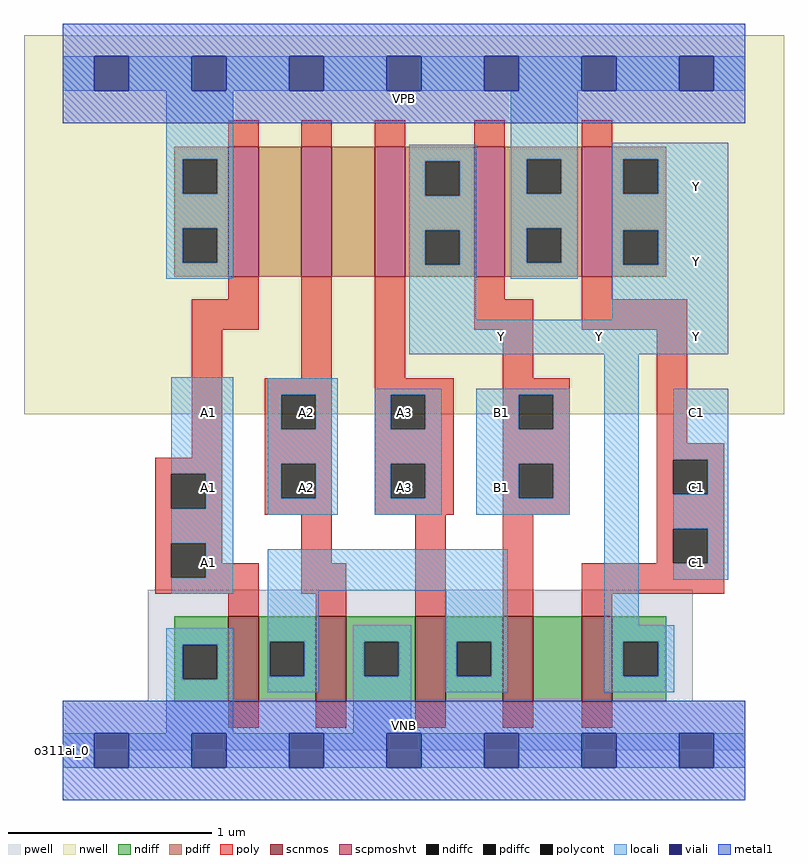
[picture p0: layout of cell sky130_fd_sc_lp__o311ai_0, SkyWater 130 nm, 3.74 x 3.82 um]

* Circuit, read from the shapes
.subckt sky130_fd_sc_lp__o311ai_0 A1 A2 A3 B1 C1 VGND VNB VPB VPWR Y
XM1 n1 A1 VGND VNB sky130_fd_pr__nfet_01v8 w=0.42 l=0.15
XM2 VGND A2 n1 VNB sky130_fd_pr__nfet_01v8 w=0.42 l=0.15
XM3 n1 A3 VGND VNB sky130_fd_pr__nfet_01v8 w=0.42 l=0.15
XM4 n2 B1 n1 VNB sky130_fd_pr__nfet_01v8 w=0.42 l=0.15
XM5 Y C1 n2 VNB sky130_fd_pr__nfet_01v8 w=0.42 l=0.15
XM6 n3 A1 VPWR VPB sky130_fd_pr__pfet_01v8_hvt w=0.64 l=0.15
XM7 n4 A2 n3 VPB sky130_fd_pr__pfet_01v8_hvt w=0.64 l=0.15
XM8 Y A3 n4 VPB sky130_fd_pr__pfet_01v8_hvt w=0.64 l=0.15
XM9 VPWR B1 Y VPB sky130_fd_pr__pfet_01v8_hvt w=0.64 l=0.15
XM10 Y C1 VPWR VPB sky130_fd_pr__pfet_01v8_hvt w=0.64 l=0.15
.ends

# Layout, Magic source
magic
tech sky130A
magscale 1 2
<< nwell >>
rect -38 331 710 704
<< pwell >>
rect 84 49 620 158
rect 0 0 672 49
<< scnmos >>
rect 163 48 193 132
rect 249 48 279 132
rect 347 48 377 132
rect 433 48 463 132
rect 511 48 541 132
<< scpmoshvt >>
rect 163 466 193 594
rect 235 466 265 594
rect 307 466 337 594
rect 405 466 435 594
rect 511 466 541 594
<< ndiff >>
rect 110 104 163 132
rect 110 70 118 104
rect 152 70 163 104
rect 110 48 163 70
rect 193 107 249 132
rect 193 73 204 107
rect 238 73 249 107
rect 193 48 249 73
rect 279 107 347 132
rect 279 73 297 107
rect 331 73 347 107
rect 279 48 347 73
rect 377 107 433 132
rect 377 73 388 107
rect 422 73 433 107
rect 377 48 433 73
rect 463 48 511 132
rect 541 107 594 132
rect 541 73 552 107
rect 586 73 594 107
rect 541 48 594 73
<< pdiff >>
rect 110 582 163 594
rect 110 548 118 582
rect 152 548 163 582
rect 110 514 163 548
rect 110 480 118 514
rect 152 480 163 514
rect 110 466 163 480
rect 193 466 235 594
rect 265 466 307 594
rect 337 580 405 594
rect 337 546 357 580
rect 391 546 405 580
rect 337 512 405 546
rect 337 478 357 512
rect 391 478 405 512
rect 337 466 405 478
rect 435 582 511 594
rect 435 548 457 582
rect 491 548 511 582
rect 435 514 511 548
rect 435 480 457 514
rect 491 480 511 514
rect 435 466 511 480
rect 541 582 594 594
rect 541 548 552 582
rect 586 548 594 582
rect 541 512 594 548
rect 541 478 552 512
rect 586 478 594 512
rect 541 466 594 478
<< ndiffc >>
rect 118 70 152 104
rect 204 73 238 107
rect 297 73 331 107
rect 388 73 422 107
rect 552 73 586 107
<< pdiffc >>
rect 118 548 152 582
rect 118 480 152 514
rect 357 546 391 580
rect 357 478 391 512
rect 457 548 491 582
rect 457 480 491 514
rect 552 548 586 582
rect 552 478 586 512
<< poly >>
rect 163 594 193 620
rect 235 594 265 620
rect 307 594 337 620
rect 405 594 435 620
rect 511 594 541 620
rect 163 444 193 466
rect 127 414 193 444
rect 127 288 157 414
rect 235 366 265 466
rect 91 272 157 288
rect 91 238 107 272
rect 141 238 157 272
rect 91 204 157 238
rect 199 350 265 366
rect 199 316 215 350
rect 249 316 265 350
rect 199 282 265 316
rect 199 248 215 282
rect 249 248 265 282
rect 199 232 265 248
rect 307 366 337 466
rect 405 444 435 466
rect 511 444 541 466
rect 405 414 463 444
rect 511 414 615 444
rect 433 366 463 414
rect 307 350 385 366
rect 307 316 323 350
rect 357 316 385 350
rect 307 282 385 316
rect 307 248 323 282
rect 357 248 385 282
rect 307 232 385 248
rect 433 350 499 366
rect 433 316 449 350
rect 483 316 499 350
rect 433 282 499 316
rect 433 248 449 282
rect 483 248 499 282
rect 433 232 499 248
rect 585 302 615 414
rect 585 286 651 302
rect 585 252 601 286
rect 635 252 651 286
rect 91 170 107 204
rect 141 184 157 204
rect 235 184 265 232
rect 141 170 193 184
rect 91 154 193 170
rect 235 154 279 184
rect 163 132 193 154
rect 249 132 279 154
rect 347 132 377 232
rect 433 132 463 232
rect 585 218 651 252
rect 585 184 601 218
rect 635 184 651 218
rect 511 154 651 184
rect 511 132 541 154
rect 163 22 193 48
rect 249 22 279 48
rect 347 22 377 48
rect 433 22 463 48
rect 511 22 541 48
<< polycont >>
rect 107 238 141 272
rect 215 316 249 350
rect 215 248 249 282
rect 323 316 357 350
rect 323 248 357 282
rect 449 316 483 350
rect 449 248 483 282
rect 601 252 635 286
rect 107 170 141 204
rect 601 184 635 218
<< locali >>
rect 0 649 31 683
rect 65 649 127 683
rect 161 649 223 683
rect 257 649 319 683
rect 353 649 415 683
rect 449 649 511 683
rect 545 649 607 683
rect 641 649 672 683
rect 102 582 168 649
rect 102 548 118 582
rect 152 548 168 582
rect 102 514 168 548
rect 102 480 118 514
rect 152 480 168 514
rect 102 464 168 480
rect 341 580 407 596
rect 341 546 357 580
rect 391 546 407 580
rect 341 512 407 546
rect 341 478 357 512
rect 391 478 407 512
rect 341 424 407 478
rect 441 582 507 649
rect 441 548 457 582
rect 491 548 507 582
rect 441 514 507 548
rect 441 480 457 514
rect 491 480 507 514
rect 441 464 507 480
rect 541 582 655 598
rect 541 548 552 582
rect 586 548 655 582
rect 541 512 655 548
rect 541 478 552 512
rect 586 478 655 512
rect 541 424 655 478
rect 341 390 655 424
rect 107 272 168 367
rect 141 238 168 272
rect 107 204 168 238
rect 202 350 271 366
rect 202 316 215 350
rect 249 316 271 350
rect 202 282 271 316
rect 202 248 215 282
rect 249 248 271 282
rect 202 232 271 248
rect 307 350 373 356
rect 307 316 323 350
rect 357 316 373 350
rect 307 282 373 316
rect 307 248 323 282
rect 357 248 373 282
rect 307 232 373 248
rect 407 350 499 356
rect 407 316 449 350
rect 483 316 499 350
rect 407 282 499 316
rect 407 248 449 282
rect 483 248 499 282
rect 407 232 499 248
rect 141 170 168 204
rect 107 154 168 170
rect 202 157 438 198
rect 102 104 168 120
rect 102 70 118 104
rect 152 70 168 104
rect 102 17 168 70
rect 202 107 252 157
rect 202 73 204 107
rect 238 73 252 107
rect 202 57 252 73
rect 286 107 343 123
rect 286 73 297 107
rect 331 73 343 107
rect 286 17 343 73
rect 377 107 438 157
rect 377 73 388 107
rect 422 73 438 107
rect 377 57 438 73
rect 533 123 567 390
rect 601 286 655 356
rect 635 252 655 286
rect 601 218 655 252
rect 635 184 655 218
rect 601 168 655 184
rect 533 107 602 123
rect 533 73 552 107
rect 586 73 602 107
rect 533 57 602 73
rect 0 -17 31 17
rect 65 -17 127 17
rect 161 -17 223 17
rect 257 -17 319 17
rect 353 -17 415 17
rect 449 -17 511 17
rect 545 -17 607 17
rect 641 -17 672 17
<< viali >>
rect 31 649 65 683
rect 127 649 161 683
rect 223 649 257 683
rect 319 649 353 683
rect 415 649 449 683
rect 511 649 545 683
rect 607 649 641 683
rect 31 -17 65 17
rect 127 -17 161 17
rect 223 -17 257 17
rect 319 -17 353 17
rect 415 -17 449 17
rect 511 -17 545 17
rect 607 -17 641 17
<< metal1 >>
rect 0 683 672 715
rect 0 649 31 683
rect 65 649 127 683
rect 161 649 223 683
rect 257 649 319 683
rect 353 649 415 683
rect 449 649 511 683
rect 545 649 607 683
rect 641 649 672 683
rect 0 617 672 649
rect 0 17 672 49
rect 0 -17 31 17
rect 65 -17 127 17
rect 161 -17 223 17
rect 257 -17 319 17
rect 353 -17 415 17
rect 449 -17 511 17
rect 545 -17 607 17
rect 641 -17 672 17
rect 0 -49 672 -17
<< labels >>
flabel pwell s 0 0 672 49 0 FreeSans 200 0 0 0 VNB
port 7 nsew ground bidirectional
flabel nwell s 0 617 672 666 0 FreeSans 200 0 0 0 VPB
port 8 nsew power bidirectional
rlabel comment s 0 0 0 0 4 o311ai_0
flabel metal1 s 0 617 672 666 0 FreeSans 340 0 0 0 VPWR
port 9 nsew power bidirectional
flabel metal1 s 0 0 672 49 0 FreeSans 340 0 0 0 VGND
port 6 nsew ground bidirectional
flabel locali s 127 168 161 202 0 FreeSans 340 0 0 0 A1
port 1 nsew signal input
flabel locali s 127 242 161 276 0 FreeSans 340 0 0 0 A1
port 1 nsew signal input
flabel locali s 127 316 161 350 0 FreeSans 340 0 0 0 A1
port 1 nsew signal input
flabel locali s 223 242 257 276 0 FreeSans 340 0 0 0 A2
port 2 nsew signal input
flabel locali s 223 316 257 350 0 FreeSans 340 0 0 0 A2
port 2 nsew signal input
flabel locali s 319 242 353 276 0 FreeSans 340 0 0 0 A3
port 3 nsew signal input
flabel locali s 319 316 353 350 0 FreeSans 340 0 0 0 A3
port 3 nsew signal input
flabel locali s 415 390 449 424 0 FreeSans 340 0 0 0 Y
port 10 nsew signal output
flabel locali s 511 390 545 424 0 FreeSans 340 0 0 0 Y
port 10 nsew signal output
flabel locali s 415 242 449 276 0 FreeSans 340 0 0 0 B1
port 4 nsew signal input
flabel locali s 415 316 449 350 0 FreeSans 340 0 0 0 B1
port 4 nsew signal input
flabel locali s 607 168 641 202 0 FreeSans 340 0 0 0 C1
port 5 nsew signal input
flabel locali s 607 242 641 276 0 FreeSans 340 0 0 0 C1
port 5 nsew signal input
flabel locali s 607 316 641 350 0 FreeSans 340 0 0 0 C1
port 5 nsew signal input
flabel locali s 607 538 641 572 0 FreeSans 340 0 0 0 Y
port 10 nsew signal output
flabel locali s 607 464 641 498 0 FreeSans 340 0 0 0 Y
port 10 nsew signal output
flabel locali s 607 390 641 424 0 FreeSans 340 0 0 0 Y
port 10 nsew signal output
<< properties >>
string LEFsite unit
string LEFclass CORE
string FIXED_BBOX 0 0 672 666
string GDS_FILE $PDKPATH/libs.ref/sky130_fd_sc_lp/gds/sky130_fd_sc_lp.gds
string LEFsymmetry X Y R90
string GDS_END 1458096
string GDS_START 1450676
<< end >>
